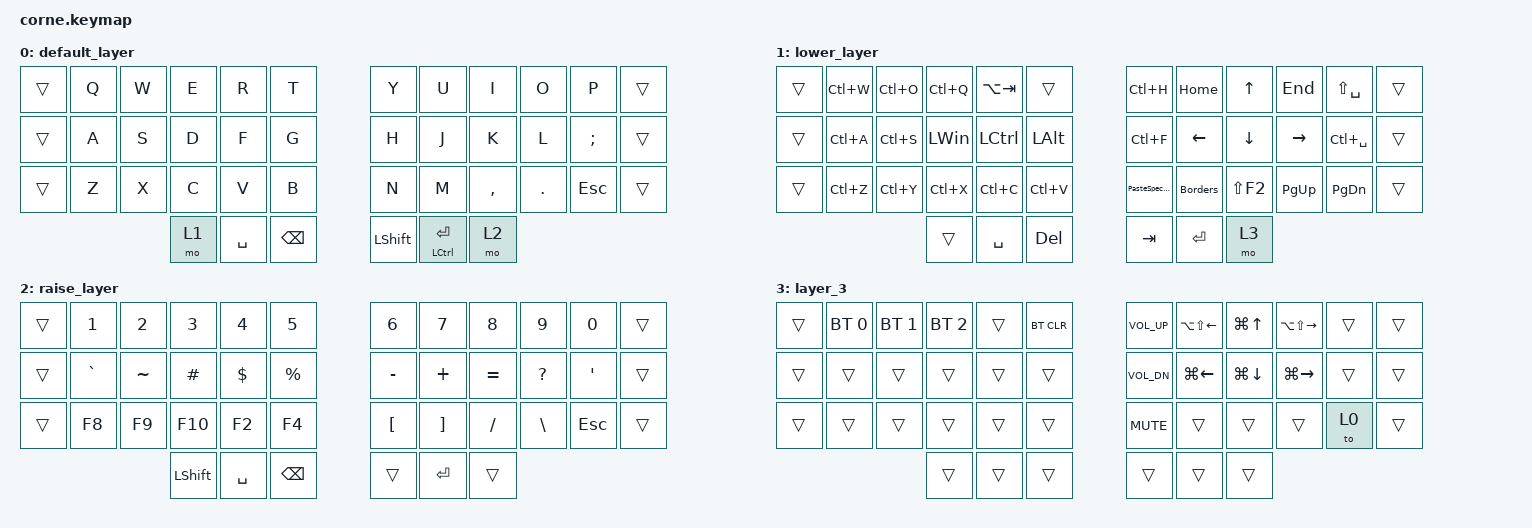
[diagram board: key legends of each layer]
/*
 * Copyright (c) 2020 The ZMK Contributors
 *
 * SPDX-License-Identifier: MIT
 */

#include <behaviors.dtsi>
#include <dt-bindings/zmk/bt.h>
#include <dt-bindings/zmk/keys.h>

/ {
    macros {
        PasteSpecial: PasteSpecial {
            compatible = "zmk,behavior-macro";
            #binding-cells = <0>;
            bindings = <&kp LEFT_ALT &kp H &kp V>;
            label = "PASTESPECIAL";
        };

        Borders: Borders {
            compatible = "zmk,behavior-macro";
            #binding-cells = <0>;
            bindings = <&kp LEFT_ALT &kp H &kp B>;
            label = "BORDERS";
        };
    };

    keymap {
        compatible = "zmk,keymap";

        default_layer {
            // -----------------------------------------------------------------------------------------
            // |  TAB |  Q  |  W  |  E  |  R  |  T  |   |  Y  |  U   |  I  |  O  |  P  | BKSP |
            // | CTRL |  A  |  S  |  D  |  F  |  G  |   |  H  |  J   |  K  |  L  |  ;  |  '   |
            // | SHFT |  Z  |  X  |  C  |  V  |  B  |   |  N  |  M   |  ,  |  .  |  /  | ESC  |
            //                    | GUI | LWR | SPC |   | ENT | RSE  | ALT |

            bindings = <
&trans  &kp Q  &kp W  &kp E  &kp R      &kp T            &kp Y           &kp U            &kp I      &kp O    &kp P     &trans
&trans  &kp A  &kp S  &kp D  &kp F      &kp G            &kp H           &kp J            &kp K      &kp L    &kp SEMI  &trans
&trans  &kp Z  &kp X  &kp C  &kp V      &kp B            &kp N           &kp M            &kp COMMA  &kp DOT  &kp ESC   &trans
                      &mo 1  &kp SPACE  &kp BACKSPACE    &kp LEFT_SHIFT  &mt LCTRL ENTER  &mo 2
            >;
        };

        lower_layer {
            // -----------------------------------------------------------------------------------------
            // |  TAB |  1  |  2  |  3  |  4  |  5  |   |  6  |  7  |  8  |  9  |  0  | BKSP |
            // | BTCLR| BT1 | BT2 | BT3 | BT4 | BT5 |   | LFT | DWN |  UP | RGT |     |      |
            // | SHFT |     |     |     |     |     |   |     |     |     |     |     |      |
            //                    | GUI |     | SPC |   | ENT |     | ALT |

            bindings = <
&trans  &kp LC(W)  &kp LC(O)  &kp LC(Q)     &kp LA(TAB)  &trans          &kp LC(H)      &kp HOME        &kp UP_ARROW  &kp END      &kp LS(SPACE)  &trans
&trans  &kp LC(A)  &kp LC(S)  &kp LEFT_WIN  &kp LCTRL    &kp LEFT_ALT    &kp LC(F)      &kp LEFT_ARROW  &kp DOWN      &kp RIGHT    &kp LC(SPACE)  &trans
&trans  &kp LC(Z)  &kp LC(Y)  &kp LC(X)     &kp LC(C)    &kp LC(V)       &PasteSpecial  &Borders        &kp LS(F2)    &kp PAGE_UP  &kp PAGE_DOWN  &trans
                              &trans        &kp SPACE    &kp DEL         &kp TAB        &kp ENTER       &mo 3
            >;
        };

        raise_layer {
            // -----------------------------------------------------------------------------------------
            // |  TAB |  !  |  @  |  #  |  $  |  %  |   |  ^  |  &  |  *  |  (  |  )  | BKSP |
            // | CTRL |     |     |     |     |     |   |  -  |  =  |  [  |  ]  |  \  |  `   |
            // | SHFT |     |     |     |     |     |   |  _  |  +  |  {  |  }  | "|" |  ~   |
            //                    | GUI |     | SPC |   | ENT |     | ALT |

            bindings = <
&trans  &kp NUMBER_1  &kp NUMBER_2  &kp NUMBER_3    &kp NUMBER_4  &kp NUMBER_5     &kp NUMBER_6      &kp NUMBER_7       &kp NUMBER_8  &kp NUMBER_9   &kp NUMBER_0      &trans
&trans  &kp GRAVE     &kp TILDE     &kp POUND       &kp DOLLAR    &kp PERCENT      &kp MINUS         &kp PLUS           &kp EQUAL     &kp QUESTION   &kp SINGLE_QUOTE  &trans
&trans  &kp F8        &kp F9        &kp F10         &kp F2        &kp F4           &kp LEFT_BRACKET  &kp RIGHT_BRACKET  &kp SLASH     &kp BACKSLASH  &kp ESCAPE        &trans
                                    &kp LEFT_SHIFT  &kp SPACE     &kp BACKSPACE    &trans            &kp ENTER          &trans
            >;
        };

        layer_3 {
            bindings = <
&trans  &bt BT_SEL 0  &bt BT_SEL 1  &bt BT_SEL 2  &trans  &bt BT_CLR    &kp C_VOLUME_UP  &kp LA(LS(LEFT_ARROW))  &kp LG(UP_ARROW)    &kp LA(LS(RIGHT))    &trans  &trans
&trans  &trans        &trans        &trans        &trans  &trans        &kp C_VOL_DN     &kp LG(LEFT_ARROW)      &kp LG(DOWN_ARROW)  &kp LG(RIGHT_ARROW)  &trans  &trans
&trans  &trans        &trans        &trans        &trans  &trans        &kp K_MUTE       &trans                  &trans              &trans               &to 0   &trans
                                    &trans        &trans  &trans        &trans           &trans                  &trans
            >;
        };
    };
};
